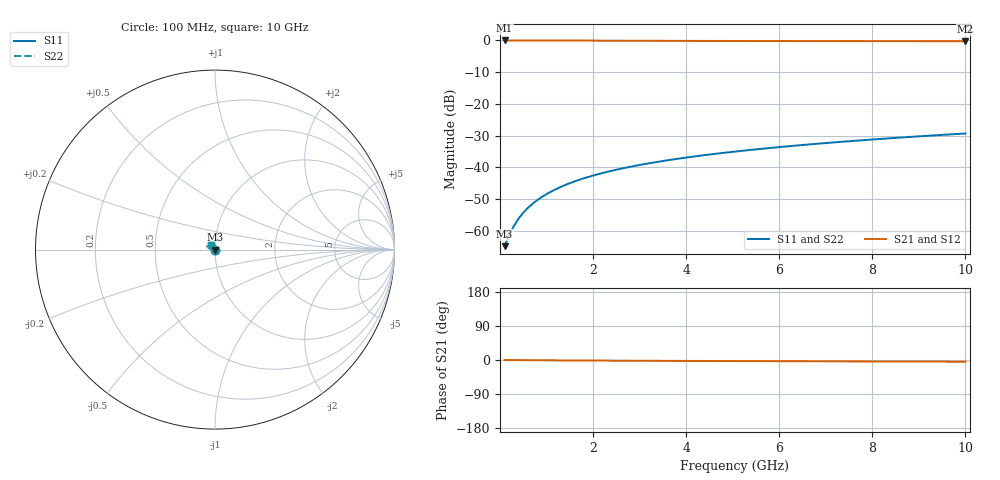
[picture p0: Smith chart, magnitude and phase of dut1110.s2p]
! Touchstone file exported from HFSS 2024.1.0
!  File:  C:/UserFiles/LocalFiles/RDL_TSV_Batchsim/temp_TSV1_1110_1780068077.aedt
!  Generated:  11:28:27 PM May 29, 2026
!  Design:  TSV1
!  Project:  temp_TSV1_1110_1780068077
!  Setup:  Setup1
!  Solution:  Sweep
! Variables:
!  dtsv = 5.12um
!  hbump = 3um
!  htsv = 60.77um
!  lrdl = 252.1521522um
!  p = 40
!  p1 = 53.57um
!  t = 500um
!  trdl = 3um
!  wrdl = 24.89489489um
# GHz S MA R 50.000000
! Terminal data exported
! Port[1] = TSV22_T1
! Port[2] = TSV22_T2
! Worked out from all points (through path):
!   100 points, 100 MHz to 10 GHz, reference 50 ohm
!   highest |S21| = 0.00 dB at 100 MHz (marker M1); lowest = -0.2 dB at 10 GHz (marker M2)
!   lowest |S11| = -64.8 dB at 100 MHz (marker M3), VSWR 1.00, Z = 50 - j0.0392 ohm
!   |S11| at or under -10 dB: start of sweep to end of sweep
!   |S22| runs from -64.8 to -29.3 dB; largest |S21 - S12| = 5.1e-15
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0.1  0.0005764 -42.9  0.9995 -0.1  0.9995 -0.1  0.0005764 -42.9
! Gamma 0 0 0 0
! Port Impedance 50 0 50 0
0.2  0.0008631 -65.4  0.9995 -0.2  0.9995 -0.2  0.0008631 -65.4
0.3  0.001204 -77.7  0.9994 -0.3  0.9994 -0.3  0.001204 -77.7
0.4  0.001564 -85.6  0.9992 -0.3  0.9992 -0.3  0.001564 -85.6
0.5  0.001934 -91.5  0.999 -0.4  0.999 -0.4  0.001934 -91.5
0.6  0.002307 -96.4  0.9988 -0.5  0.9988 -0.5  0.002307 -96.4
0.7  0.002681 -100.6  0.9986 -0.6  0.9986 -0.6  0.002681 -100.6
0.9  0.003429 -108.0  0.998 -0.7  0.998 -0.7  0.003429 -108.0
1  0.003803 -111.4  0.9976 -0.8  0.9976 -0.8  0.003803 -111.4
1.2  0.004545 -117.7  0.9969 -0.9  0.9969 -0.9  0.004545 -117.7
1.5  0.005647 -126.3  0.9957 -1.2  0.9957 -1.2  0.005647 -126.3
1.8  0.006734 -134.2  0.9943 -1.4  0.9943 -1.4  0.006734 -134.2
2.1  0.007806 -141.6  0.9928 -1.5  0.9928 -1.5  0.007806 -141.6
2.5  0.009211 -150.6  0.9909 -1.8  0.9909 -1.8  0.009211 -150.6
2.9  0.01059 -158.9  0.9889 -2.0  0.9889 -2.0  0.01059 -158.9
3.4  0.0123 -168.1  0.9866 -2.2  0.9866 -2.2  0.0123 -168.1
4.2  0.01498 179.3  0.9834 -2.5  0.9834 -2.5  0.01498 179.3
5.1  0.01796 167.8  0.9804 -2.8  0.9804 -2.8  0.01796 167.8
5.9  0.0206 159.4  0.9783 -3.1  0.9783 -3.1  0.0206 159.4
6.7  0.02324 152.3  0.9766 -3.4  0.9766 -3.4  0.02324 152.3
8.4  0.02888 140.6  0.9738 -3.9  0.9738 -3.9  0.02888 140.6
10  0.03426 132.5  0.9719 -4.5  0.9719 -4.5  0.03426 132.5
